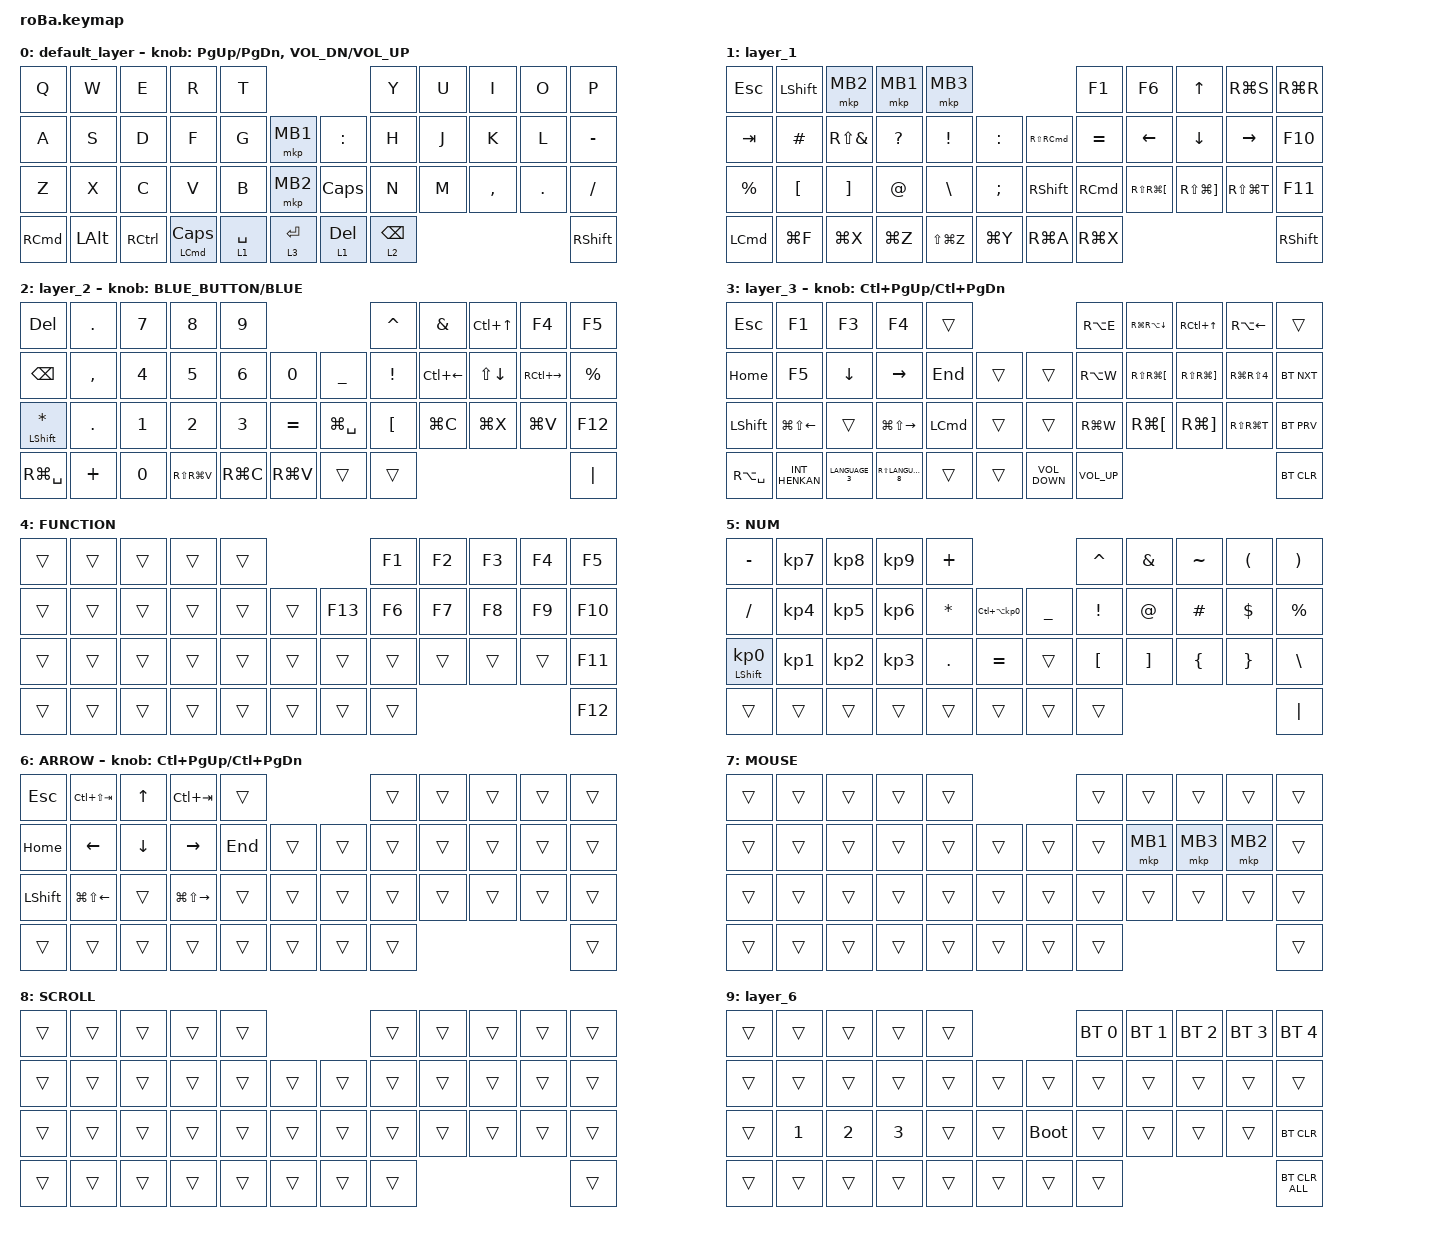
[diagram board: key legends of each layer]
#include <behaviors.dtsi>
#include <dt-bindings/zmk/bt.h>
#include <dt-bindings/zmk/keys.h>
#include <dt-bindings/zmk/pointing.h>

#define MOUSE 4
#define SCROLL 5
#define NUM 6

&mt {
    flavor = "balanced";
    quick-tap-ms = <0>;
};

/ {
    combos {
        compatible = "zmk,combos";

        tab {
            bindings = <&kp TAB>;
            key-positions = <11 12>;
        };

        shift_tab {
            bindings = <&kp LS(TAB)>;
            key-positions = <12 13>;
        };

        muhennkann {
            bindings = <&to_layer_0 INT_MUHENKAN>;
            key-positions = <11 10>;
        };

        double_quotation {
            bindings = <&kp DOUBLE_QUOTES>;
            key-positions = <20 21>;
        };

        eq {
            bindings = <&kp EQUAL>;
            key-positions = <24 25>;
        };
    };

    macros {
        to_layer_0: to_layer_0 {
            compatible = "zmk,behavior-macro-one-param";
            #binding-cells = <1>;
            bindings = <&to 0 &macro_param_1to1 &kp MACRO_PLACEHOLDER>;
            label = "TO_LAYER_0";
        };
    };

    behaviors {
        lt_to_layer_0: lt_to_layer_0 {
            compatible = "zmk,behavior-hold-tap";
            label = "LAYER_TAP_TO_0";
            bindings = <&mo>, <&to_layer_0>;

            #binding-cells = <2>;
            tapping-term-ms = <200>;
        };
    };

    keymap {
        compatible = "zmk,keymap";

        default_layer {
            bindings = <
&kp Q     &kp W         &kp E              &kp R                  &kp T                                                                     &kp Y                       &kp U  &kp I      &kp O    &kp P
&kp A     &kp S         &kp D              &kp F                  &kp G                   &mkp MB1                    &kp COLON             &kp H                       &kp J  &kp K      &kp L    &kp MINUS
&kp Z     &kp X         &kp C              &kp V                  &kp B                   &mkp MB2                    &kp CAPS              &kp N                       &kp M  &kp COMMA  &kp DOT  &kp SLASH
&kp RCMD  &kp LEFT_ALT  &kp RIGHT_CONTROL  &mt LEFT_COMMAND CAPS  &lt_to_layer_0 1 SPACE  &lt_to_layer_0 3 ENTER      &lt_to_layer_0 1 DEL  &lt_to_layer_0 2 BACKSPACE                             &kp RIGHT_SHIFT
            >;

            sensor-bindings =
                <&inc_dec_kp PAGE_UP PAGE_DOWN>,
                <&inc_dec_kp C_VOL_DN C_VOL_UP>;
        };

        layer_1 {
            bindings = <
&kp ESCAPE        &kp LEFT_SHIFT    &mkp MB2           &mkp MB1      &mkp MB3                                         &kp F1     &kp F6                    &kp UP_ARROW               &kp RG(S)        &kp RG(R)
&kp TAB           &kp HASH          &kp RS(AMPERSAND)  &kp QUESTION  &kp EXCLAMATION  &kp COLON      &kp RS(RCMD)     &kp EQUAL  &kp LEFT_ARROW            &kp DOWN_ARROW             &kp RIGHT_ARROW  &kp F10
&kp PERCENT       &kp LEFT_BRACKET  &kp RIGHT_BRACKET  &kp AT        &kp BACKSLASH    &kp SEMI       &kp RIGHT_SHIFT  &kp RCMD   &kp RS(RG(LEFT_BRACKET))  &kp RS(LG(RIGHT_BRACKET))  &kp RS(LG(T))    &kp F11
&kp LEFT_COMMAND  &kp LG(F)         &kp LG(X)          &kp LG(Z)     &kp LS(LG(Z))    &kp LG(Y)      &kp RG(A)        &kp RG(X)                                                                        &kp RIGHT_SHIFT
            >;
        };

        layer_2 {
            bindings = <
&kp DEL               &kp PERIOD  &kp NUMBER_7  &kp NUMBER_8   &kp NUMBER_9                                    &kp CARET         &kp AMPERSAND       &kp LC(UP_ARROW)    &kp F4               &kp F5
&kp BACKSPACE         &kp COMMA   &kp NUMBER_4  &kp NUMBER_5   &kp NUMBER_6  &kp NUMBER_0      &kp UNDERSCORE  &kp EXCLAMATION   &kp LC(LEFT_ARROW)  &kp LS(DOWN_ARROW)  &kp RC(RIGHT_ARROW)  &kp PERCENT
&mt LEFT_SHIFT ASTRK  &kp PERIOD  &kp NUMBER_1  &kp NUMBER_2   &kp NUMBER_3  &kp EQUAL         &kp LG(SPACE)   &kp LEFT_BRACKET  &kp LG(C)           &kp LG(X)           &kp LG(V)            &kp F12
&kp RG(SPACE)         &kp PLUS    &kp NUMBER_0  &kp RS(RG(V))  &kp RG(C)     &kp RG(V)         &trans          &trans                                                                         &kp PIPE
            >;

            sensor-bindings = <&inc_dec_kp C_BLUE_BUTTON C_BLUE>;
        };

        layer_3 {
            bindings = <
&kp ESCAPE      &kp F1                  &kp F3          &kp F4                   &trans                                           &kp RA(E)        &kp RG(RA(DOWN_ARROW))    &kp RC(UP_ARROW)           &kp RA(LEFT_ARROW)    &trans
&kp HOME        &kp F5                  &kp DOWN_ARROW  &kp RIGHT_ARROW          &kp END           &trans      &trans             &kp RA(W)        &kp RS(RG(LEFT_BRACKET))  &kp RS(RG(RIGHT_BRACKET))  &kp RG(RS(NUMBER_4))  &bt BT_NXT
&kp LEFT_SHIFT  &kp LG(LS(LEFT_ARROW))  &trans          &kp LG(LS(RIGHT_ARROW))  &kp LEFT_COMMAND  &trans      &trans             &kp RG(W)        &kp RG(LEFT_BRACKET)      &kp RG(RIGHT_BRACKET)      &kp RS(RG(T))         &bt BT_PRV
&kp RA(SPACE)   &kp INT_HENKAN          &kp LANGUAGE_3  &kp RS(LANGUAGE_8)       &trans            &trans      &kp C_VOLUME_DOWN  &kp C_VOLUME_UP                                                                             &bt BT_CLR
            >;

            sensor-bindings = <&inc_dec_kp LC(PAGE_UP) LC(PAGE_DOWN)>;
        };

        FUNCTION {
            bindings = <
&trans  &trans  &trans  &trans  &trans                       &kp F1  &kp F2  &kp F3  &kp F4  &kp F5
&trans  &trans  &trans  &trans  &trans  &trans      &kp F13  &kp F6  &kp F7  &kp F8  &kp F9  &kp F10
&trans  &trans  &trans  &trans  &trans  &trans      &trans   &trans  &trans  &trans  &trans  &kp F11
&trans  &trans  &trans  &trans  &trans  &trans      &trans   &trans                          &kp F12
            >;
        };

        NUM {
            bindings = <
&kp MINUS                   &kp KP_NUMBER_7  &kp KP_NUMBER_8  &kp KP_NUMBER_9  &kp PLUS                                                   &kp CARET         &kp AMPERSAND      &kp TILDE       &kp LEFT_PARENTHESIS  &kp RIGHT_PARENTHESIS
&kp SLASH                   &kp KP_NUMBER_4  &kp KP_NUMBER_5  &kp KP_NUMBER_6  &kp ASTERISK  &kp LC(LA(KP_NUMBER_0))      &kp UNDERSCORE  &kp EXCLAMATION   &kp AT_SIGN        &kp HASH        &kp DOLLAR            &kp PERCENT
&mt LEFT_SHIFT KP_NUMBER_0  &kp KP_NUMBER_1  &kp KP_NUMBER_2  &kp KP_NUMBER_3  &kp PERIOD    &kp EQUAL                    &trans          &kp LEFT_BRACKET  &kp RIGHT_BRACKET  &kp LEFT_BRACE  &kp RIGHT_BRACE       &kp BACKSLASH
&trans                      &trans           &trans           &trans           &trans        &trans                       &trans          &trans                                                                     &kp PIPE
            >;
        };

        ARROW {
            bindings = <
&kp ESCAPE      &kp LC(LS(TAB))         &kp UP_ARROW    &kp LC(TAB)              &trans                       &trans  &trans  &trans  &trans  &trans
&kp HOME        &kp LEFT_ARROW          &kp DOWN_ARROW  &kp RIGHT_ARROW          &kp END  &trans      &trans  &trans  &trans  &trans  &trans  &trans
&kp LEFT_SHIFT  &kp LG(LS(LEFT_ARROW))  &trans          &kp LG(LS(RIGHT_ARROW))  &trans   &trans      &trans  &trans  &trans  &trans  &trans  &trans
&trans          &trans                  &trans          &trans                   &trans   &trans      &trans  &trans                          &trans
            >;

            sensor-bindings = <&inc_dec_kp LC(PAGE_UP) LC(PAGE_DOWN)>;
        };

        MOUSE {
            bindings = <
&trans  &trans  &trans  &trans  &trans                      &trans  &trans    &trans    &trans    &trans
&trans  &trans  &trans  &trans  &trans  &trans      &trans  &trans  &mkp MB1  &mkp MB3  &mkp MB2  &trans
&trans  &trans  &trans  &trans  &trans  &trans      &trans  &trans  &trans    &trans    &trans    &trans
&trans  &trans  &trans  &trans  &trans  &trans      &trans  &trans                                &trans
            >;
        };

        SCROLL {
            bindings = <
&trans  &trans  &trans  &trans  &trans                      &trans  &trans  &trans  &trans  &trans
&trans  &trans  &trans  &trans  &trans  &trans      &trans  &trans  &trans  &trans  &trans  &trans
&trans  &trans  &trans  &trans  &trans  &trans      &trans  &trans  &trans  &trans  &trans  &trans
&trans  &trans  &trans  &trans  &trans  &trans      &trans  &trans                          &trans
            >;
        };

        layer_6 {
            bindings = <
&trans  &trans        &trans        &trans        &trans                           &bt BT_SEL 0  &bt BT_SEL 1  &bt BT_SEL 2  &bt BT_SEL 3  &bt BT_SEL 4
&trans  &trans        &trans        &trans        &trans  &trans      &trans       &trans        &trans        &trans        &trans        &trans
&trans  &kp NUMBER_1  &kp NUMBER_2  &kp NUMBER_3  &trans  &trans      &bootloader  &trans        &trans        &trans        &trans        &bt BT_CLR
&trans  &trans        &trans        &trans        &trans  &trans      &trans       &trans                                                  &bt BT_CLR_ALL
            >;
        };
    };
};
